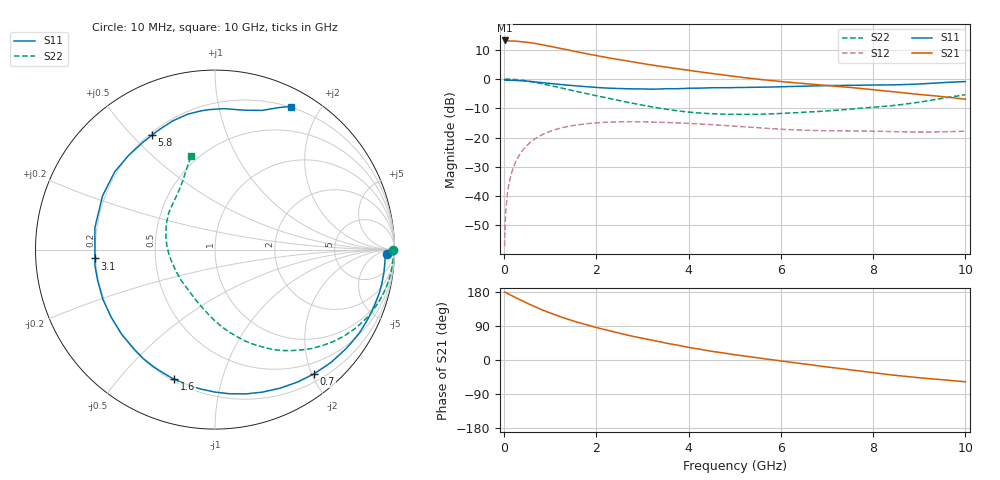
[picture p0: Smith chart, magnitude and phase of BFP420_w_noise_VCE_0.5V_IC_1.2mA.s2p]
! Infineon Technologies  Discrete & RF Semiconductors
! BFP420
! VCE =  0.5 V,  IC =  1.2 mA
! Common Emitter S-Parameters:  Jan 2016
# GHz  S  MA  R  50
!  f  S11  S21  S12  S22
! GHz  MAG  ANG  MAG  ANG  MAG  ANG  MAG  ANG
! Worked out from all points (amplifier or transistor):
!   233 points, 10 MHz to 10 GHz, reference 50 ohm
!   highest |S21| = 13.1 dB at 10 MHz (marker M1)
!   |S21| within 3 dB of that: start of sweep to 1.308 GHz
!   unconditionally stable (mu >= 1): 4.249 GHz to end of sweep
!   at 200 MHz: K = 0.02, MSG = 21.6 dB, |S12| = -30.2 dB
!   at 1.74 GHz: K = 0.35, MSG = 12.1 dB, |S12| = -15.4 dB
!   at 10 GHz: K = 1.26, MAG = 2.4 dB, |S12| = -17.8 dB
!   lowest NFmin = 0.53 dB at 900 MHz
!   S11 on the Smith chart (normalised r, x): 10 MHz: 34, -24; 700 MHz: 0.32, -2.04; 1.6 GHz: 0.21, -0.71; 3.1 GHz: 0.20, -0.04; 5.8 GHz: 0.21, +0.57; 10 GHz: 0.19, +1.64
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0.01  0.9612 -1.6  4.534 179.3  0.0014 81.8  0.9936 -0.2
0.025  0.949 -1.9  4.408 178.8  0.0038 89.2  0.9941 -1.3
0.055  0.9493 -4.0  4.438 176.7  0.0084 87.1  0.9936 -2.9
0.1  0.9501 -7.5  4.462 174.0  0.0155 85.6  0.9919 -5.2
0.155  0.9486 -11.6  4.452 170.6  0.024 82.8  0.9874 -8.0
0.42  0.9258 -31.2  4.297 154.5  0.0631 70.0  0.9423 -21.2
0.7  0.8854 -51.4  3.995 138.7  0.0987 57.4  0.8656 -33.8
0.9  0.8525 -65.0  3.729 128.6  0.1192 49.3  0.8035 -41.7
1.1  0.8221 -77.9  3.465 119.4  0.1362 42.1  0.7419 -48.8
1.38  0.7822 -95.0  3.123 107.5  0.1544 32.8  0.6613 -57.9
1.6  0.7575 -107.5  2.884 99.2  0.1649 26.4  0.604 -64.0
1.68  0.7472 -111.8  2.804 96.3  0.1683 24.2  0.5853 -66.1
2  0.7173 -127.9  2.502 85.6  0.1781 16.2  0.5167 -74.0
2.38  0.6907 -146.1  2.21 73.9  0.1846 7.6  0.446 -82.9
3.1  0.6706 -175.8  1.778 54.9  0.1845 -5.8  0.3452 -99.1
3.4  0.6739 173.3  1.636 47.5  0.1819 -10.6  0.3141 -106.7
4.5  0.7072 142.2  1.24 22.8  0.1663 -24.2  0.2551 -136.8
5.1  0.7125 130.8  1.076 12.3  0.1545 -28.9  0.2482 -151.7
5.8  0.7278 118.8  0.936 0.8  0.1417 -32.0  0.2532 -169.0
6.8  0.7626 104.0  0.795 -15.0  0.1315 -33.6  0.2778 168.1
8.4  0.7908 79.8  0.608 -39.4  0.126 -36.5  0.3494 131.6
10  0.9021 62.1  0.45 -57.5  0.1281 -35.7  0.5369 104.5
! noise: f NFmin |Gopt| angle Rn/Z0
0.9  0.53  0.62  33  0.31
1.8  1.1  0.4  77  0.24
2.4  1.23  0.41  100  0.2
3  1.51  0.41  132  0.14
4  1.8  0.44  -175  0.09
5  2.23  0.45  -132  0.38
6  3.18  0.57  -116  0.44
